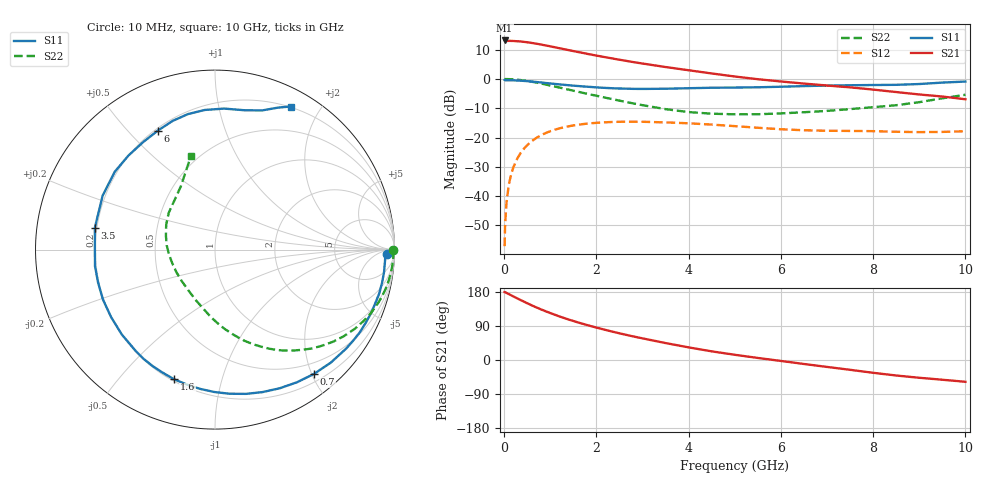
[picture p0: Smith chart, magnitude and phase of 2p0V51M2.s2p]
! (c) 2009  Infineon Technologies AG, Munich
! Infineon Technologies  Discrete & RF Semiconductors
! BFP420
! VCE =  0.5 V,  IC =  1.2 mA
! Common Emitter S-Parameters:  Nov 2009
# GHz  S  MA  R  50
!  f  S11  S21  S12  S22
! GHz  MAG  ANG  MAG  ANG  MAG  ANG  MAG  ANG
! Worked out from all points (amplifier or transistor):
!   46 points, 10 MHz to 10 GHz, reference 50 ohm
!   highest |S21| = 13.1 dB at 10 MHz (marker M1)
!   |S21| within 3 dB of that: start of sweep to 1.308 GHz
!   unconditionally stable (mu >= 1): 4.301 GHz to end of sweep
!   at 300 MHz: K = 0.04, MSG = 19.8 dB, |S12| = -26.8 dB
!   at 1.7 GHz: K = 0.34, MSG = 12.2 dB, |S12| = -15.4 dB
!   at 10 GHz: K = 1.26, MAG = 2.4 dB, |S12| = -17.8 dB
!   lowest NFmin = 0.53 dB at 900 MHz
!   S11 on the Smith chart (normalised r, x): 10 MHz: 34, -24; 700 MHz: 0.32, -2.04; 1.6 GHz: 0.21, -0.71; 3.5 GHz: 0.19, +0.09; 6 GHz: 0.21, +0.61; 10 GHz: 0.19, +1.64
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0.01  0.9612 -1.6  4.534 179.3  0.0014 81.8  0.9936 -0.2
0.02  0.949 -1.5  4.403 179.2  0.0031 90.1  0.9942 -1.0
0.05  0.9494 -3.6  4.436 177.0  0.0076 87.5  0.9939 -2.6
0.1  0.9501 -7.5  4.462 174.0  0.0155 85.6  0.9919 -5.2
0.15  0.949 -11.2  4.454 170.9  0.0232 83.1  0.988 -7.8
0.3  0.9385 -22.4  4.39 161.6  0.0459 75.7  0.9673 -15.4
0.45  0.922 -33.4  4.272 152.8  0.0674 68.7  0.9358 -22.6
0.7  0.8854 -51.4  3.995 138.7  0.0987 57.4  0.8656 -33.8
0.9  0.8525 -65.0  3.729 128.6  0.1192 49.3  0.8035 -41.7
1.1  0.8221 -77.9  3.465 119.4  0.1362 42.1  0.7419 -48.8
1.6  0.7575 -107.5  2.884 99.2  0.1649 26.4  0.604 -64.0
1.7  0.7453 -112.9  2.785 95.6  0.1692 23.7  0.5808 -66.6
2  0.7173 -127.9  2.502 85.6  0.1781 16.2  0.5167 -74.0
2.4  0.6903 -147.0  2.196 73.3  0.1849 7.2  0.4426 -83.4
2.8  0.6769 -164.3  1.938 62.2  0.1863 -0.7  0.382 -92.5
3.5  0.6804 169.7  1.596 44.7  0.1813 -12.2  0.3051 -109.5
4.5  0.7072 142.2  1.24 22.8  0.1663 -24.2  0.2551 -136.8
5.5  0.7204 123.8  0.989 5.4  0.1468 -31.2  0.2497 -161.5
6  0.7357 115.6  0.904 -2.5  0.1384 -32.6  0.2578 -173.8
7  0.7699 101.3  0.772 -18.3  0.1304 -33.7  0.2847 163.9
8.5  0.7933 78.2  0.597 -40.9  0.1254 -36.7  0.3559 129.3
10  0.9021 62.1  0.45 -57.5  0.1281 -35.7  0.5369 104.5
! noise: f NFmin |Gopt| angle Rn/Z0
0.9  0.53  0.62  33  0.31
1.8  1.1  0.4  77  0.24
2.4  1.23  0.41  100  0.2
3  1.51  0.41  132  0.14
4  1.8  0.44  -175  0.09
5  2.23  0.45  -132  0.38
6  3.18  0.57  -116  0.44
